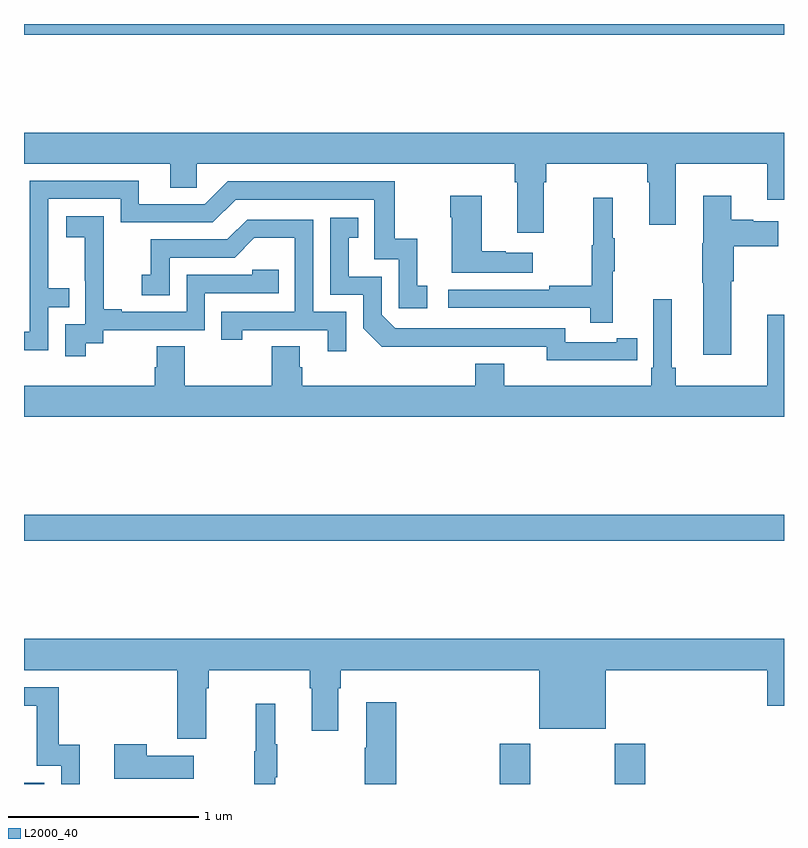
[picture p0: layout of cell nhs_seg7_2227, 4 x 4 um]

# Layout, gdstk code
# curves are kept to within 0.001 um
import gdstk
lib = gdstk.Library(unit=1e-6, precision=1e-09)
def R(c, l, rs):  # rectangles x0, y0, x1, y1
    for r in rs: c.add(gdstk.rectangle(r[:2], r[2:], *l))
def P(c, l, *ps):  # polygons
    for p in ps: c.add(gdstk.Polygon(p, *l))
L2000_40 = (2000, 40)

nhs_seg7_2227 = lib.new_cell('nhs_seg7_2227')
R(nhs_seg7_2227, L2000_40, [(257,1016,257.106,1016.007), (259.505,1016,259.665,1016.212), (260.11,1016,260.27,1016.212), (257,1017.28,261,1017.416), (257,1019.944,261,1020)])
P(nhs_seg7_2227, L2000_40, [(259.735,1019.168),(259.748,1019.168),(259.748,1019.264),(260.279,1019.264),(260.279,1019.168),(260.291,1019.168),(260.291,1018.944),(260.431,1018.944),(260.431,1019.264),(260.912,1019.264),(260.912,1019.076),(261,1019.076),(261,1019.428),(257,1019.428),(257,1019.264),(257.771,1019.264),(257.771,1019.137),(257.91,1019.137),(257.91,1019.264),(259.583,1019.264),(259.583,1019.168),(259.595,1019.168),(259.595,1018.902),(259.735,1018.902)],
  [(257.127,1018.509),(257.237,1018.509),(257.237,1018.61),(257.127,1018.61),(257.127,1019.079),(257.508,1019.079),(257.508,1018.956),(257.994,1018.956),(258.114,1019.076),(258.843,1019.076),(258.843,1018.761),(258.972,1018.761),(258.972,1018.503),(259.123,1018.503),(259.123,1018.623),(259.07,1018.623),(259.07,1018.87),(258.952,1018.87),(258.952,1019.172),(258.072,1019.172),(257.952,1019.052),(257.605,1019.052),(257.605,1019.175),(257.031,1019.175),(257.031,1018.38),(257,1018.38),(257,1018.284),(257.127,1018.284)],
  [(260.722,1018.645),(260.735,1018.645),(260.735,1018.829),(260.971,1018.829),(260.971,1018.963),(260.838,1018.963),(260.838,1018.971),(260.722,1018.971),(260.722,1019.095),(260.576,1019.095),(260.576,1018.845),(260.569,1018.845),(260.569,1018.639),(260.576,1018.639),(260.576,1018.26),(260.722,1018.26)],
  [(259.678,1018.795),(259.535,1018.795),(259.535,1018.805),(259.408,1018.805),(259.408,1019.095),(259.243,1019.095),(259.243,1018.982),(259.25,1018.982),(259.25,1018.691),(259.678,1018.691)],
  [(260.099,1018.699),(260.11,1018.699),(260.11,1018.873),(260.099,1018.873),(260.099,1019.086),(259.996,1019.086),(259.996,1018.836),(259.989,1018.836),(259.989,1018.622),(259.765,1018.622),(259.765,1018.602),(259.233,1018.602),(259.233,1018.506),(259.981,1018.506),(259.981,1018.428),(260.099,1018.428)],
  [(257.326,1018.321),(257.418,1018.321),(257.418,1018.389),(257.952,1018.389),(257.952,1018.584),(258.341,1018.584),(258.341,1018.707),(258.201,1018.707),(258.201,1018.68),(257.856,1018.68),(257.856,1018.485),(257.515,1018.485),(257.515,1018.498),(257.42,1018.498),(257.42,1018.781),(257.421,1018.781),(257.421,1018.987),(257.223,1018.987),(257.223,1018.877),(257.321,1018.877),(257.321,1018.649),(257.322,1018.649),(257.322,1018.419),(257.217,1018.419),(257.217,1018.251),(257.326,1018.251)],
  [(260.12,1018.23),(260.228,1018.23),(260.228,1018.346),(260.12,1018.346),(260.12,1018.326),(259.848,1018.326),(259.848,1018.398),(258.954,1018.398),(258.882,1018.47),(258.882,1018.671),(258.709,1018.671),(258.709,1018.875),(258.758,1018.875),(258.758,1018.981),(258.612,1018.981),(258.612,1018.575),(258.786,1018.575),(258.786,1018.398),(258.884,1018.301),(259.752,1018.302),(259.752,1018.229)],
  [(258.696,1018.485),(258.522,1018.485),(258.522,1018.971),(258.176,1018.971),(258.071,1018.866),(257.668,1018.866),(257.668,1018.681),(257.619,1018.681),(257.619,1018.572),(257.766,1018.572),(257.766,1018.77),(258.108,1018.77),(258.212,1018.874),(258.426,1018.874),(258.426,1018.485),(258.037,1018.485),(258.037,1018.338),(258.148,1018.338),(258.148,1018.389),(258.599,1018.389),(258.599,1018.278),(258.696,1018.278)],
  [(258.451,1018.194),(258.451,1018.304),(258.304,1018.304),(258.304,1018.096),(257.847,1018.096),(257.847,1018.304),(257.699,1018.304),(257.699,1018.194),(257.687,1018.194),(257.687,1018.096),(257,1018.096),(257,1017.932),(261,1017.932),(261,1018.471),(260.912,1018.471),(260.912,1018.096),(260.429,1018.096),(260.429,1018.192),(260.41,1018.192),(260.41,1018.552),(260.313,1018.552),(260.313,1018.192),(260.3,1018.192),(260.3,1018.096),(259.528,1018.096),(259.528,1018.213),(259.376,1018.213),(259.376,1018.096),(258.464,1018.096),(258.464,1018.194)],
  [(257.959,1016.504),(257.972,1016.504),(257.972,1016.6),(258.503,1016.6),(258.503,1016.504),(258.515,1016.504),(258.515,1016.28),(258.655,1016.28),(258.655,1016.504),(258.668,1016.504),(258.668,1016.6),(259.712,1016.6),(259.712,1016.291),(260.062,1016.291),(260.062,1016.6),(260.912,1016.6),(260.912,1016.412),(261,1016.412),(261,1016.764),(257,1016.764),(257,1016.6),(257.807,1016.6),(257.807,1016.238),(257.959,1016.238)],
  [(257.294,1016.206),(257.183,1016.206),(257.183,1016.508),(257,1016.508),(257,1016.412),(257.067,1016.412),(257.067,1016.097),(257.196,1016.097),(257.196,1016),(257.294,1016)],
  [(258.959,1016.431),(258.8,1016.431),(258.8,1016.192),(258.793,1016.192),(258.793,1016),(258.959,1016)],
  [(258.323,1016.035),(258.334,1016.035),(258.334,1016.209),(258.323,1016.209),(258.323,1016.422),(258.22,1016.422),(258.22,1016.172),(258.213,1016.172),(258.213,1016),(258.323,1016)],
  [(257.893,1016.149),(257.645,1016.149),(257.645,1016.209),(257.474,1016.209),(257.474,1016.027),(257.893,1016.027)])

lib.write_gds('nhs_seg7_2227.gds')
